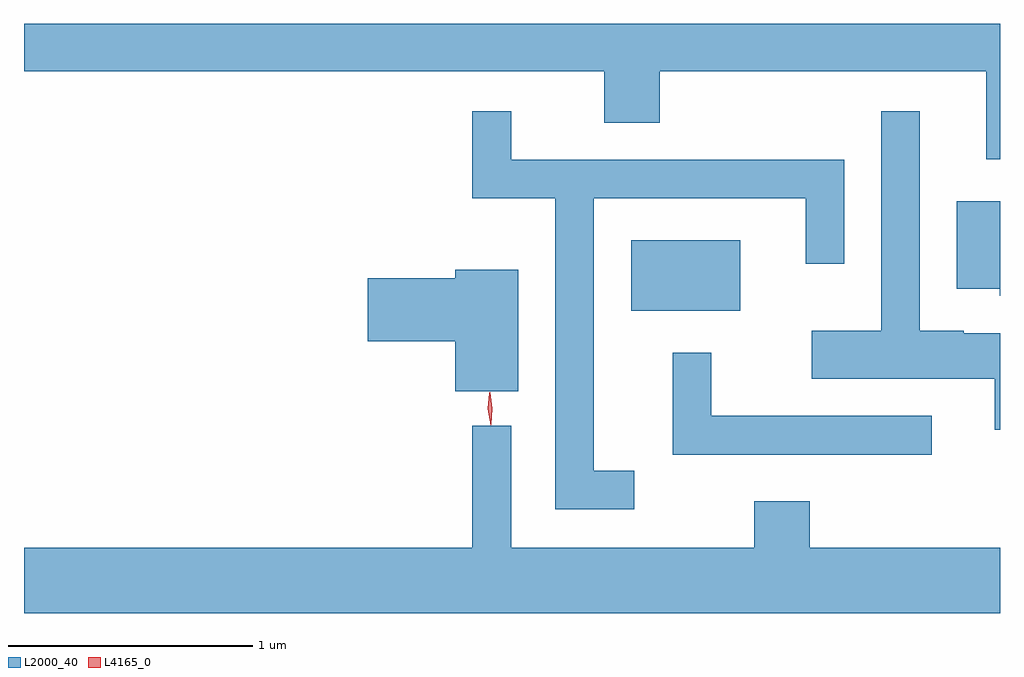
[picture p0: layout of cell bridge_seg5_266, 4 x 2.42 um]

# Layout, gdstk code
import gdstk
lib = gdstk.Library(unit=1e-6, precision=1e-09)
def R(c, l, rs):  # rectangles x0, y0, x1, y1
    for r in rs: c.add(gdstk.rectangle(r[:2], r[2:], *l))
def P(c, l, *ps):  # polygons
    for p in ps: c.add(gdstk.Polygon(p, *l))
L2000_40 = (2000, 40)
L4165_0 = (4165, 0)

bridge_seg5_266 = lib.new_cell('bridge_seg5_266')
R(bridge_seg5_266, L2000_40, [(620.786,1520.196,621.234,1520.484)])
P(bridge_seg5_266, L2000_40, [(622.298,1521.371),(618.298,1521.371),(618.298,1521.176),(620.676,1521.176),(620.676,1520.966),(620.904,1520.966),(620.904,1521.176),(622.241,1521.176),(622.241,1520.816),(622.298,1520.816)],
  [(622.298,1520.104),(622.15,1520.104),(622.15,1520.114),(621.969,1520.114),(621.969,1521.013),(621.811,1521.013),(621.811,1520.114),(621.526,1520.114),(621.526,1519.916),(622.276,1519.916),(622.276,1519.708),(622.298,1519.708)],
  [(620.798,1519.539),(620.634,1519.539),(620.634,1520.656),(621.501,1520.656),(621.501,1520.388),(621.659,1520.388),(621.659,1520.814),(620.294,1520.814),(620.294,1521.013),(620.136,1521.013),(620.136,1520.656),(620.476,1520.656),(620.476,1519.381),(620.798,1519.381)],
  [(622.298,1520.644),(622.121,1520.644),(622.121,1520.286),(622.296,1520.286),(622.296,1520.256),(622.298,1520.256)],
  [(620.324,1520.364),(620.066,1520.364),(620.066,1520.329),(619.706,1520.329),(619.706,1520.071),(620.066,1520.071),(620.066,1519.866),(620.324,1519.866)],
  [(622.018,1519.764),(621.114,1519.764),(621.114,1520.023),(620.956,1520.023),(620.956,1519.606),(622.018,1519.606)],
  [(622.298,1519.224),(621.519,1519.224),(621.519,1519.414),(621.291,1519.414),(621.291,1519.224),(620.294,1519.224),(620.294,1519.723),(620.136,1519.723),(620.136,1519.224),(618.298,1519.224),(618.298,1518.956),(622.298,1518.956)])
P(bridge_seg5_266, L4165_0, [(620.21,1519.725),(620.21,1519.725),(620.199,1519.793),(620.207,1519.862),(620.207,1519.862),(620.208,1519.862),(620.218,1519.794),(620.21,1519.725)],
  [(620.212,1519.728),(620.212,1519.729),(620.199,1519.793),(620.204,1519.858),(620.205,1519.859),(620.205,1519.858),(620.218,1519.794),(620.213,1519.729)])

lib.write_gds('bridge_seg5_266.gds')
